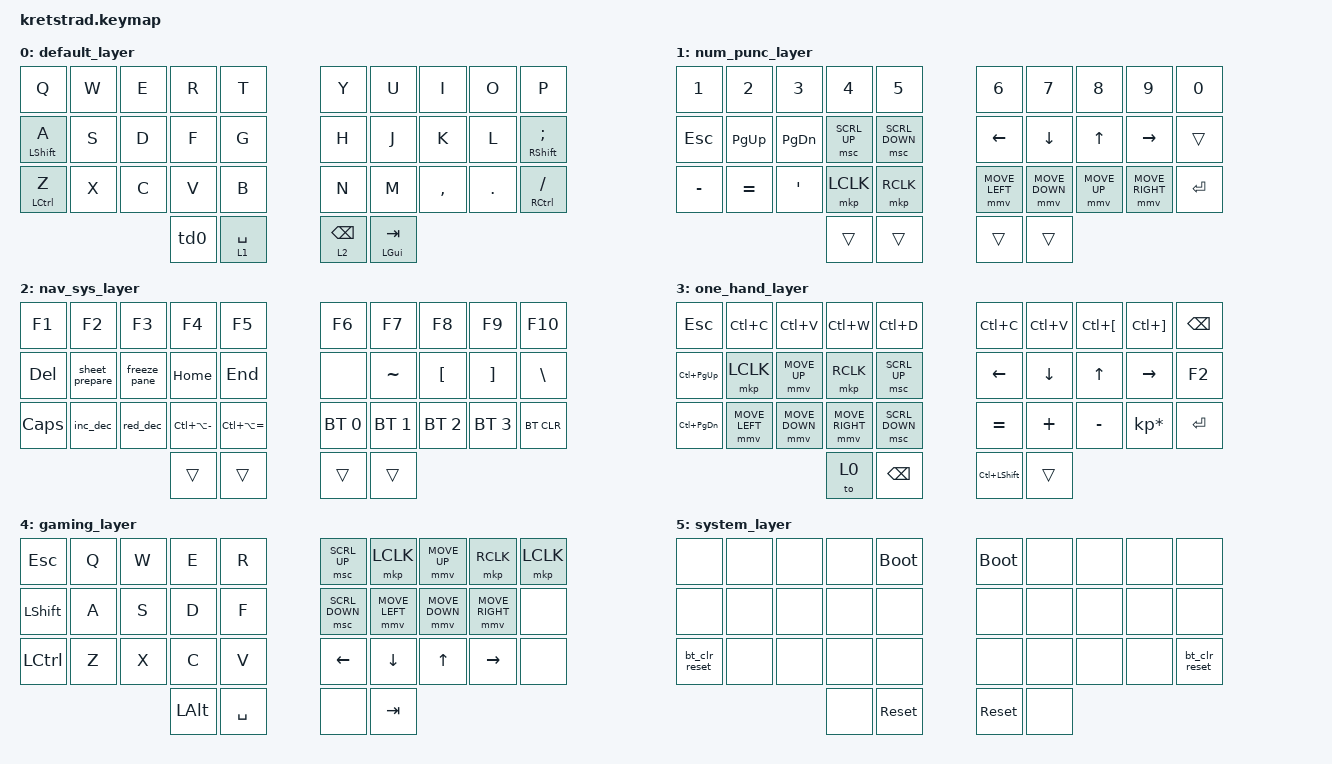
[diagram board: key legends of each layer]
/*
 * Copyright (c) 2020 The ZMK Contributors
 *
 * SPDX-License-Identifier: MIT
 */
// Force rebuild

#include <behaviors.dtsi>
#include <dt-bindings/zmk/keys.h>
#include <dt-bindings/zmk/bt.h>
#include <dt-bindings/zmk/mouse.h>

// Enhanced mouse movement configuration for better Windows compatibility
&mmv {
    time-to-max-speed-ms = <400>;            // How long time until max speed is reached (default: 500)
    acceleration-exponent = <1>;             // Linear acceleration
};
    
&msc {
    time-to-max-speed-ms = <500>;            // How long time until max speed is reached
    acceleration-exponent = <0>;             // No acceleration for more precise scrolling
};

&mt {
    flavor = "tap-preferred";
};

/ {

    behaviors {
            td0: tap_dance {
                compatible = "zmk,behavior-tap-dance";
                label = "TAP_DANCE_0";
                #binding-cells = <0>;
                tapping-term-ms = <250>;
                bindings = <&kp LALT>, <&tog 3>;
            };
            
            // Add a bluetooth clear and reconnect behavior for connection issues
            bt_clr_reset: bt_clr_reset {
                compatible = "zmk,behavior-macro";
                label = "BT_CLEAR_RESET";
                #binding-cells = <0>;
                bindings = <&bt BT_CLR>, <&bt BT_SEL 0>;
            };
    };

    keymap {
        
        // Key location reference
        //     0             1            2            3            4                        5            6            7            8            9        
        //    10            11           12           13           14                       15           16           17           18           19
        //    20            21           22           23           24                       25           26           27           28           29
        //                                            30           31                       32           33

        compatible = "zmk,keymap";
        // Layer 0
        // quite optimised: to work on a decicated gaming layer <trigger through combo> 
        default_layer {
            bindings = <
                &kp Q               &kp W      &kp E      &kp R      &kp T               &kp Y      &kp U         &kp I         &kp O           &kp P
                &mt LSHFT A         &kp S      &kp D      &kp F      &kp G               &kp H      &kp J         &kp K         &kp L           &mt RSHFT SEMI
                &mt LCTRL Z         &kp X      &kp C      &kp V      &kp B               &kp N      &kp M         &kp COMMA     &kp DOT         &mt RCTRL FSLH
                                                      &td0     &lt 1 SPACE               &lt 2 BSPC       &mt LGUI TAB
                >;
        };

        // Layer 1
        // quite optimised
        num_punc_layer {
            bindings = <
                &kp N1     &kp N2     &kp N3     &kp N4          &kp N5                     &kp N6          &kp N7          &kp N8        &kp N9           &kp N0
                &kp ESC    &kp PG_UP  &kp PG_DN  &msc SCRL_UP    &msc SCRL_DOWN             &kp LEFT        &kp DOWN        &kp UP        &kp RIGHT        &trans
                &kp MINUS  &kp EQUAL  &kp SQT    &mkp LCLK       &mkp RCLK                  &mmv MOVE_LEFT  &mmv MOVE_DOWN  &mmv MOVE_UP  &mmv MOVE_RIGHT  &kp ENTER
                                                 &trans          &trans                     &trans          &trans
                >;
        };
        
        // Layer 2
        // add most often used macros in excel: format painter, 
        // wishlist excel function: trace precedent, trace dependent, remove arrow
        
        nav_sys_layer {
            bindings = <
                &kp F1        &kp F2              &kp F3            &kp F4                  &kp F5                     &kp F6          &kp F7         &kp F8         &kp F9         &kp F10
                &kp DEL       &sheet_prepare      &freeze_pane      &kp HOME                &kp END                    &none           &kp TILDE      &kp LBKT       &kp RBKT       &kp BSLH
                &kp CAPS      &inc_dec            &red_dec          &kp LC(LA(MINUS))       &kp LC(LA(EQUAL))          &bt BT_SEL 0    &bt BT_SEL 1   &bt BT_SEL 2   &bt BT_SEL 3   &bt BT_CLR
                                                                    &trans                  &trans                     &trans          &trans
                >;
        };
        
        // Layer 3
        // left hand: add most often used key with a mouse: enter key, 
        // right hand: computation notation very rarely used, should focus on data exploration in excel, e.g. trace precedent, dependent and remove arrow
        // right hand: top right backspace is redundant
        one_hand_layer {
            bindings = <
                &kp ESC             &kp LC(C)          &kp LC(V)         &kp LC(W)         &kp LC(D)                 &kp LC(C)       &kp LC(V)       &kp LC(LBKT)         &kp LC(RBKT)            &kp BSPC
                &kp LC(PG_UP)       &mkp LCLK          &mmv MOVE_UP      &mkp RCLK         &msc SCRL_UP              &kp LEFT        &kp DOWN        &kp UP               &kp RIGHT               &kp F2
                &kp LC(PG_DN)       &mmv MOVE_LEFT     &mmv MOVE_DOWN    &mmv MOVE_RIGHT   &msc SCRL_DOWN            &kp EQUAL       &kp PLUS        &kp MINUS            &kp KP_MULTIPLY         &kp ENTER
                                                                         &to 0             &kp BSPC                  &kp LC(LSHFT)      &trans
                >;
        };
        
        // Layer 4
        // create a layer for gaming purpose
            // [done] should include AWSD in middle of left hand
            // [done] should have CTRL and SHFT
            // [done] should have SPACE key
            // [done] should have ESC key
            // [done] should have TAB key
            // [done] should have ALT key
            // [done through combo] should have ENTER key
            // [done] should ave R-reload
            // [done] should have F-melee
            // ??????? should have M
            // [done] should have Q
            // [done] should have E
            // [done] should have Z
            // [done] should have X
            // [done] should have C
            // [done] should have V
            // [done through combo] should have MCLK
            // [done] should have mouse scroll up
            // [done] should have mouse scroll down
            // [done through combo] create an escape back to layer 0
            // [done through combo] create a way to enter to this layer

        gaming_layer {
            bindings = <
                &kp ESC       &kp Q     &kp W     &kp E     &kp R          &msc SCRL_UP        &mkp LCLK         &mmv MOVE_UP       &mkp RCLK           &mkp LCLK
                &kp LSHFT     &kp A     &kp S     &kp D     &kp F          &msc SCRL_DOWN      &mmv MOVE_LEFT    &mmv MOVE_DOWN     &mmv MOVE_RIGHT     &none
                &kp LCTRL     &kp Z     &kp X     &kp C     &kp V          &kp LEFT            &kp DOWN          &kp UP             &kp RIGHT           &none
                                           &kp LALT     &kp SPACE          &none     &kp TAB
                >;
        };

        // Layer 5
        // create a layer for system purpose 
            // [done through combo] create a way to enter this layer
            // [done through combo] create a way to exit this layer
            // [done] should have soft reset for left and right side
            // [done] should have hard reset for left and right side

        system_layer {
            bindings = <
                &none              &none     &none     &none     &bootloader          &bootloader     &none     &none     &none     &none
                &none              &none     &none     &none     &none                &none           &none     &none     &none     &none
                &bt_clr_reset      &none     &none     &none     &none                &none           &none     &none     &none     &bt_clr_reset
                                              &none     &sys_reset               &sys_reset          &none
                >;
        };
    };

    combos {
        compatible = "zmk,combos";
        
        combo_divide {
            timeout-ms = <50>;
            key-positions = <26 27>;
            layers = <3>;
            bindings = <&kp KP_DIVIDE>;
        };

        combo_middle_click {
            timeout-ms = <50>;
            key-positions = <11 13>;
            layers = <3>;
            bindings = <&mkp MCLK>;
        };

        commbo_middle_click2 {
            timeout-ms = <50>;
            key-positions = <6 8>;
            layers = <4>;
            bindings = <&mkp MCLK>;
        };

        combo_scroll_left {
            timeout-ms = <50>;
            key-positions = <10 20>;
            layers = <3>;
            bindings = <&msc SCRL_LEFT>;
        };

        combo_scroll_right {
            timeout-ms = <50>;
            key-positions = <14 24>;
            layers = <3>;
            bindings = <&msc SCRL_RIGHT>;
        };

        combo_enter {
            timeout-ms = <50>;
            key-positions = <30 31>;
            layers = <4>;
            bindings = <&kp ENTER>;
        };
        // TODO: problem in limit of button to activate combo
        combo_enter_layer4_from_layer0 {
            timeout-ms = <50>;
            key-positions = <0 9 10 19 20 29>;
            layers = <0>;
            bindings = <&tog 4>;
        }; 

        combo_return_layer0_from_layer4 {
            timeout-ms = <50>;
            key-positions = <0 9 10 19 20 29>;
            layers = <4>;
            bindings = <&to 0>;
        }; 

        combo_enter_layer5_from_layer0 {
            timeout-ms = <50>;
            key-positions = <0 1 2 3 6 7 8 9 30 33>;
            layers = <0>;
            bindings = <&tog 5>;
        }; 

        combo_return_layer_from_layer5 {
            timeout-ms = <50>;
            key-positions = <0 1 2 3 6 7 8 9 30 33>;
            layers = <5>;
            bindings = <&to 0>;
        }; 
        
        // Add a combo to quickly clear BT connections and reconnect when issues arise
        combo_bt_reset {
            timeout-ms = <50>;
            key-positions = <25 29>;  // Bottom right corner keys
            layers = <0>;
            bindings = <&bt_clr_reset>;
        }; 
    };

    macros {
        // EXCEL: prepare formatting of the sheet with favorite font, gridline and font size
        sheet_prepare: sheet_prepare {
            label = "ZM_sheet_prepare";
            compatible = "zmk,behavior-macro";
            #binding-cells = <0>;
            wait-ms = <50>;
            tap-ms = <50>;
            bindings 
                // select whole sheet
                = <&kp LC(A)>
                // font selection
                , <&kp LALT &kp H &kp F &kp F &kp A &kp R &kp I &kp A &kp L &kp SPACE &kp N &kp A &kp R &kp R &kp O &kp W &kp ENTER>
                // remove gridline
                , <&kp LALT &kp W &kp V &kp G>
                // font size
                , <&kp LALT &kp H &kp F &kp S &kp N1 &kp N1 &kp ENTER>
                ;
        };

        // EXCEL: select the cell and choose place to turn on freeze pane, activate again to remove freeze pane
        freeze_pane: freeze_pane {
            label = "ZM_freeze_pane";
            compatible = "zmk,behavior-macro";
            #binding-cells = <0>;
            wait-ms = <30>;
            tap-ms = <40>;
            bindings = <&kp LALT &kp W &kp F &kp F>;
        };

        // EXCEL: increase decimal points
        inc_dec: inc_dec {
            label = "ZM_inc_dec";
            compatible = "zmk,behavior-macro";
            #binding-cells = <0>;
            wait-ms = <30>;
            tap-ms = <40>;
            bindings = <&kp LALT &kp H &kp N0>;
        };

        // EXCEL: reduce decimal points
        red_dec: red_dec {
            label = "ZM_red_dec";
            compatible = "zmk,behavior-macro";
            #binding-cells = <0>;
            wait-ms = <30>;
            tap-ms = <40>;
            bindings = <&kp LALT &kp H &kp N9>;
        };
        
        // EXCEL: trace precedent (new macro)
        trace_precedent: trace_precedent {
            label = "ZM_trace_precedent";
            compatible = "zmk,behavior-macro";
            #binding-cells = <0>;
            wait-ms = <30>;
            tap-ms = <40>;
            bindings = <&kp LALT &kp T &kp U &kp P>;
        };
        
        // Excel: trace dependent (new macro)
        trace_dependent: trace_dependent {
            label = "ZM_trace_dependent";
            compatible = "zmk,behavior-macro";
            #binding-cells = <0>;
            wait-ms = <30>;
            tap-ms = <40>;
            bindings = <&kp LALT &kp T &kp U &kp D>;
        };
        
        // Excel: remove arrows (new macro)
        remove_arrows: remove_arrows {
            label = "ZM_remove_arrows";
            compatible = "zmk,behavior-macro";
            #binding-cells = <0>;
            wait-ms = <30>;
            tap-ms = <40>;
            bindings = <&kp LALT &kp T &kp U &kp A &kp A>;
        };
    };
}; 
